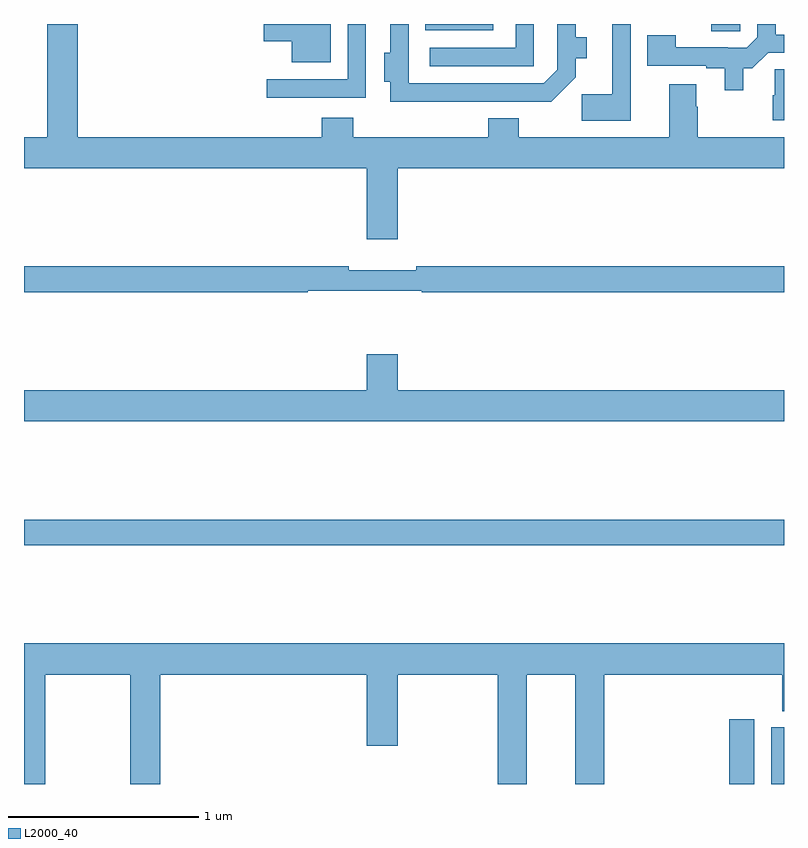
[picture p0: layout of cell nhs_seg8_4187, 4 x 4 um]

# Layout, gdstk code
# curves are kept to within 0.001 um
import gdstk
lib = gdstk.Library(unit=1e-6, precision=1e-09)
def R(c, l, rs):  # rectangles x0, y0, x1, y1
    for r in rs: c.add(gdstk.rectangle(r[:2], r[2:], *l))
def P(c, l, *ps):  # polygons
    for p in ps: c.add(gdstk.Polygon(p, *l))
L2000_40 = (2000, 40)

nhs_seg8_4187 = lib.new_cell('nhs_seg8_4187')
R(nhs_seg8_4187, L2000_40, [(370.712,1139.9,370.843,1140.241), (370.934,1139.9,371,1140.199), (367,1141.156,371,1141.292), (370.618,1143.862,370.771,1143.9), (369.113,1143.866,369.469,1143.9)])
P(nhs_seg8_4187, L2000_40, [(369.359,1143.492),(369.775,1143.491),(369.905,1143.62),(369.905,1143.719),(369.961,1143.719),(369.961,1143.829),(369.904,1143.829),(369.904,1143.9),(369.807,1143.9),(369.807,1143.66),(369.735,1143.588),(369.024,1143.588),(369.024,1143.9),(368.928,1143.9),(368.928,1143.749),(368.897,1143.749),(368.897,1143.596),(368.928,1143.596),(368.928,1143.491)],
  [(370.786,1143.666),(370.833,1143.666),(370.917,1143.75),(371,1143.75),(371,1143.843),(370.956,1143.843),(370.956,1143.9),(370.86,1143.9),(370.86,1143.831),(370.803,1143.774),(370.703,1143.774),(370.703,1143.777),(370.431,1143.777),(370.431,1143.842),(370.279,1143.842),(370.279,1143.681),(370.592,1143.681),(370.592,1143.666),(370.688,1143.666),(370.688,1143.552),(370.786,1143.552)],
  [(368.799,1143.9),(368.703,1143.9),(368.703,1143.609),(368.277,1143.609),(368.277,1143.513),(368.799,1143.513)],
  [(368.614,1143.9),(368.262,1143.9),(368.262,1143.809),(368.408,1143.809),(368.408,1143.698),(368.614,1143.698)],
  [(369.684,1143.9),(369.588,1143.9),(369.588,1143.774),(369.135,1143.774),(369.135,1143.678),(369.684,1143.678)],
  [(368.968,1143.14),(371,1143.14),(371,1143.304),(370.545,1143.304),(370.545,1143.464),(370.537,1143.464),(370.537,1143.583),(370.397,1143.583),(370.397,1143.304),(369.603,1143.304),(369.603,1143.403),(369.443,1143.403),(369.443,1143.304),(368.732,1143.304),(368.732,1143.406),(368.567,1143.406),(368.567,1143.304),(367.283,1143.304),(367.283,1143.9),(367.123,1143.9),(367.123,1143.304),(367,1143.304),(367,1143.14),(368.804,1143.14),(368.804,1142.766),(368.968,1142.766)],
  [(370.194,1143.9),(370.097,1143.9),(370.097,1143.531),(369.936,1143.531),(369.936,1143.392),(370.194,1143.392)],
  [(371,1143.662),(370.951,1143.662),(370.951,1143.525),(370.942,1143.525),(370.942,1143.393),(371,1143.393)],
  [(368.494,1142.496),(369.094,1142.496),(369.094,1142.488),(371,1142.488),(371,1142.624),(369.064,1142.624),(369.064,1142.605),(368.708,1142.605),(368.708,1142.624),(367,1142.624),(367,1142.488),(368.494,1142.488)],
  [(368.804,1142.161),(368.804,1141.972),(367,1141.972),(367,1141.808),(371,1141.808),(371,1141.972),(368.968,1141.972),(368.968,1142.161)],
  [(367.113,1140.476),(367.558,1140.476),(367.558,1139.9),(367.718,1139.9),(367.718,1140.476),(368.804,1140.476),(368.804,1140.102),(368.968,1140.102),(368.968,1140.476),(369.494,1140.476),(369.494,1139.9),(369.646,1139.9),(369.646,1140.476),(369.902,1140.476),(369.902,1139.9),(370.055,1139.9),(370.055,1140.476),(370.991,1140.476),(370.991,1140.284),(371,1140.284),(371,1140.64),(367,1140.64),(367,1139.9),(367.113,1139.9)])

lib.write_gds('nhs_seg8_4187.gds')
